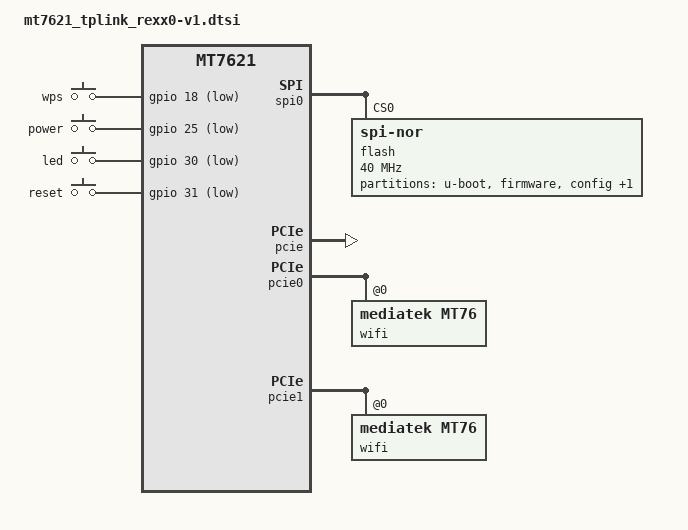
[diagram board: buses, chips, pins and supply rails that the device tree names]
// SPDX-License-Identifier: GPL-2.0-or-later OR MIT

#include "mt7621.dtsi"

#include <dt-bindings/gpio/gpio.h>
#include <dt-bindings/input/input.h>

/ {
	aliases {
		label-mac-device = &gmac0;
	};

	chosen {
		bootargs = "console=ttyS0,57600";
	};

	keys {
		compatible = "gpio-keys";

		wps {
			label = "wps";
			gpios = <&gpio 18 GPIO_ACTIVE_LOW>;
			debounce-interval = <60>;
			linux,code = <KEY_WPS_BUTTON>;
		};

		power {
			label = "power";
			gpios = <&gpio 25 GPIO_ACTIVE_LOW>;
			debounce-interval = <60>;
			linux,code = <KEY_POWER>;
		};

		led {
			label = "led";
			gpios = <&gpio 30 GPIO_ACTIVE_LOW>;
			debounce-interval = <60>;
			linux,code = <KEY_LIGHTS_TOGGLE>;
		};

		reset {
			label = "reset";
			gpios = <&gpio 31 GPIO_ACTIVE_LOW>;
			debounce-interval = <60>;
			linux,code = <KEY_RESTART>;
		};
	};
};

&spi0 {
	status = "okay";

	flash@0 {
		compatible = "jedec,spi-nor";
		reg = <0>;
		spi-max-frequency = <40000000>;

		partitions {
			compatible = "fixed-partitions";
			#address-cells = <1>;
			#size-cells = <1>;

			partition@0 {
				label = "u-boot";
				reg = <0x0 0x20000>;
				read-only;
			};

			partition@20000 {
				compatible = "tplink,firmware";
				label = "firmware";
				reg = <0x20000 0xde0000>;
			};

			config: partition@e00000 {
				label = "config";
				reg = <0xe00000 0x50000>;
				read-only;
			};

			/* range 0xe50000 to 0xff0000 is empty in vendor
			 * firmware, so we do not use it either
			 */

			radio: partition@ff0000 {
				label = "radio";
				reg = <0xff0000 0x10000>;
				read-only;
			};
		};
	};
};

&pcie {
	status = "okay";
};

&pcie0 {
	wifi@0,0 {
		compatible = "mediatek,mt76";
		reg = <0x0000 0 0 0 0>;
		mediatek,mtd-eeprom = <&radio 0x0>;
		mtd-mac-address = <&config 0x10008>;
		mtd-mac-address-increment = <1>;
		ieee80211-freq-limit = <2400000 2500000>;
	};
};

&pcie1 {
	wifi@0,0 {
		compatible = "mediatek,mt76";
		reg = <0x0000 0 0 0 0>;
		mediatek,mtd-eeprom = <&radio 0x8000>;
		mtd-mac-address = <&config 0x10008>;
		mtd-mac-address-increment = <2>;
		ieee80211-freq-limit = <5000000 6000000>;
	};
};

&gmac0 {
	mtd-mac-address = <&config 0x10008>;
};

&switch0 {
	ports {
		port@0 {
			status = "okay";
			label = "lan";
		};
	};
};
